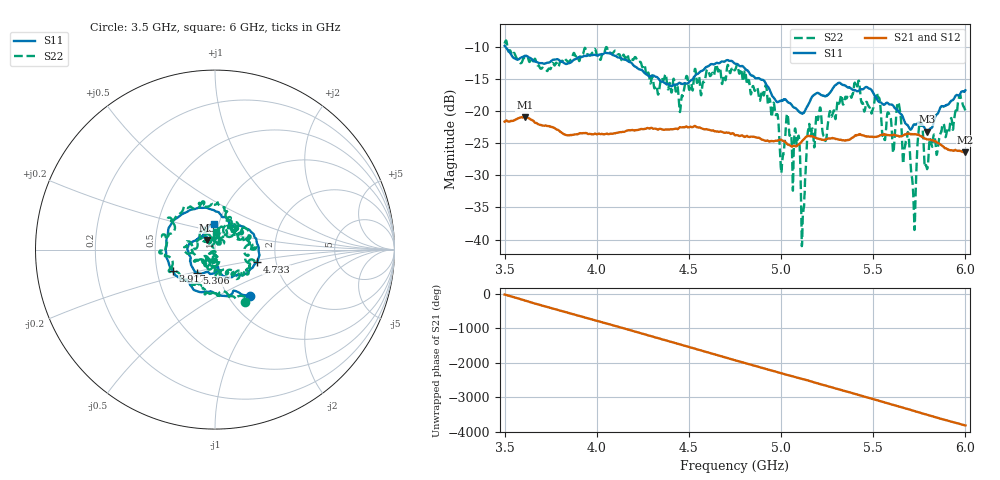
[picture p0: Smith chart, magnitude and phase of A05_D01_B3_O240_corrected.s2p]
! Created with skrf 1.9.0 (http://scikit-rf.org).
# Hz S RI R 50.0
!freq ReS11 ImS11 ReS21 ImS21 ReS12 ImS12 ReS22 ImS22
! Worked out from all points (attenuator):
!   1601 points, 3.5 GHz to 6 GHz, reference 50 ohm
!   highest |S21| = -20.94 dB at 3.609 GHz (marker M1); lowest = -26.4 dB at 6 GHz (marker M2)
!   lowest |S11| = -23.2 dB at 5.791 GHz (marker M3), VSWR 1.15, Z = 45.6 + j4.92 ohm
!   |S11| at or under -10 dB: 3.505 GHz to end of sweep
!   |S22| runs from -41.0 to -9.0 dB; largest |S21 - S12| = 0.0013
!   S11 on the Smith chart (normalised r, x): 3.5 GHz: 1.25, -0.72; 3.917 GHz: 0.60, -0.15; 4.733 GHz: 1.60, -0.23; 5.306 GHz: 0.79, -0.21; 6 GHz: 0.95, +0.28
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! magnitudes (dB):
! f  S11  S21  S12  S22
! 3.5 GHz  -9.8  -21.6  -21.6  -9.5
! 3.609 GHz  -11.4  -20.9  -21.0  -11.8
! 3.917 GHz  -11.6  -23.5  -23.5  -11.0
! 4.334 GHz  -14.9  -22.9  -22.8  -17.4
! 4.733 GHz  -12.2  -23.5  -23.5  -13.4
! 4.75 GHz  -12.6  -23.8  -23.7  -13.6
! 4.925 GHz  -16.1  -24.6  -24.6  -17.8
! 5.005 GHz  -18.3  -24.5  -24.5  -28.3
! 5.033 GHz  -18.5  -25.1  -25.1  -20.4
! 5.086 GHz  -19.7  -25.4  -25.4  -25.3
! 5.119 GHz  -20.3  -24.5  -24.5  -36.0
! 5.145 GHz  -19.1  -23.9  -23.9  -23.1
! 5.167 GHz  -17.8  -23.9  -23.9  -22.9
! 5.306 GHz  -15.7  -24.4  -24.3  -18.5
! 5.411 GHz  -16.9  -23.7  -23.7  -16.0
! 5.584 GHz  -18.9  -23.7  -23.7  -20.3
! 5.611 GHz  -19.3  -23.7  -23.6  -26.3
! 5.639 GHz  -20.1  -23.9  -23.9  -18.9
! 5.719 GHz  -22.1  -23.6  -23.6  -34.2
! 5.755 GHz  -21.8  -23.9  -23.8  -22.1
! 5.791 GHz  -23.2  -24.4  -24.3  -28.7
! 6 GHz  -16.8  -26.4  -26.4  -19.9
